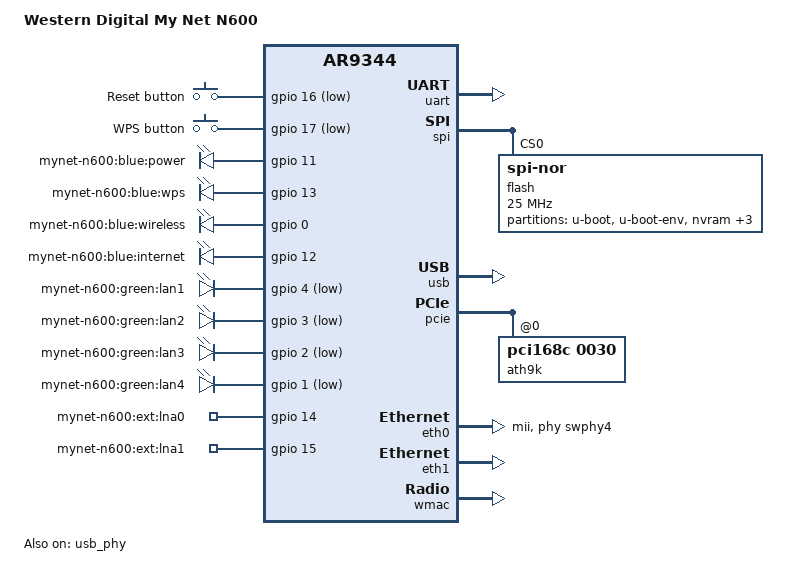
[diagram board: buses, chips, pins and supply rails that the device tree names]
// SPDX-License-Identifier: GPL-2.0-or-later OR MIT
/dts-v1/;

/* This is a DEMO file - it comes with no support, if there's anything wrong. Please fix it yourself. */

#include <dt-bindings/gpio/gpio.h>
#include <dt-bindings/input/input.h>

#include "ar9344.dtsi"

/ {
	model = "Western Digital My Net N600";
	compatible = "wd,mynet-n600", "qca,ar9344";

	aliases {
		serial0 = &uart;
		led-boot = &power;
		led-failsafe = &power;
		led-running = &power;
		led-upgrade = &power;
	};

	keys {
		compatible = "gpio-keys-polled";
		poll-interval = <20>;

		reset {
			label = "Reset button";
			linux,code = <KEY_RESTART>;
			gpios = <&gpio 16 GPIO_ACTIVE_LOW>;
			debounce-interval = <60>;
		};

		wps {
			label = "WPS button";
			linux,code = <KEY_WPS_BUTTON>;
			gpios = <&gpio 17 GPIO_ACTIVE_LOW>;
			debounce-interval = <60>;
		};
	};

	leds {
		compatible = "gpio-leds";

		power: power {
			label = "mynet-n600:blue:power";
			gpios = <&gpio 11 GPIO_ACTIVE_HIGH>;
			default-state = "on";
		};

		wps {
			label = "mynet-n600:blue:wps";
			gpios = <&gpio 13 GPIO_ACTIVE_HIGH>;
		};

		wireless {
			label = "mynet-n600:blue:wireless";
			gpios = <&gpio 0 GPIO_ACTIVE_HIGH>;
		};

		internet {
			label = "mynet-n600:blue:internet";
			gpios = <&gpio 12 GPIO_ACTIVE_HIGH>;
		};

		lan1 {
			label = "mynet-n600:green:lan1";
			gpios = <&gpio 4 GPIO_ACTIVE_LOW>;
		};

		lan2 {
			label = "mynet-n600:green:lan2";
			gpios = <&gpio 3 GPIO_ACTIVE_LOW>;
		};

		lan3 {
			label = "mynet-n600:green:lan3";
			gpios = <&gpio 2 GPIO_ACTIVE_LOW>;
		};

		lan4 {
			label = "mynet-n600:green:lan4";
			gpios = <&gpio 1 GPIO_ACTIVE_LOW>;
		};
	};

	gpio-export {
		compatible = "gpio-export";

		gpio_ext_lna0 {
			gpio-export,name = "mynet-n600:ext:lna0";
			gpio-export,output = <1>;
			gpios = <&gpio 14 GPIO_ACTIVE_HIGH>;
		};

		gpio_ext_lna1 {
			gpio-export,name = "mynet-n600:ext:lna1";
			gpio-export,output = <1>;
			gpios = <&gpio 15 GPIO_ACTIVE_HIGH>;
		};
	};
};

&ref {
	clock-frequency = <40000000>; /* or <25000000>; */
};

&uart {
	status = "okay";
};

&spi {
	num-cs = <1>;

	status = "okay";

	flash@0 {
		compatible = "jedec,spi-nor";
		reg = <0>;
		spi-max-frequency = <25000000>;

		/* spi0.0:256k(u-boot)ro,64k(u-boot-env)ro,64k(devdata)ro,64k(devconf)ro,15872k(firmware),64k(radiocfg)ro */

		partitions {
			compatible = "fixed-partitions";
			#address-cells = <1>;
			#size-cells = <1>;

			uboot: partition@0 {
				label = "u-boot";
				reg = <0x000000 0x040000>;
				read-only;
			};

			partition@40000 {
				label = "u-boot-env";
				reg = <0x040000 0x010000>;
				read-only;
			};

			nvram: partition@50000 {
				label = "nvram";
				reg = <0x050000 0x010000>;
				read-only;
			};

			partition@60000 {
				label = "devconf";
				reg = <0x060000 0x010000>;
				read-only;
			};

			partition@70000 {
				label = "firmware";
				reg = <0x070000 0x0f80000>;
			};

			art: partition@ff0000 {
				label = "art";
				reg = <0xff0000 0x010000>;
				read-only;
			};
		};
	};
};

&usb {
	status = "okay";
};

&usb_phy {
	status = "okay";
};

&pcie {
	status = "okay";

	ath9k: wifi@0,0 {
		compatible = "pci168c,0030";
		reg = <0x0000 0 0 0 0>;
		qca,no-eeprom;
	};
};

&eth0 {
	status = "okay";

	phy-mode = "mii";

	/* GMAC0 is connected to the PHY4 of the internal switch */
	phy-handle = <&swphy4>;

	gmac-config {
		device = <&gmac>;
		switch-only-mode = <1>;
		switch-phy-swap = <1>;
	};
};

&eth1 {
	status = "okay";
};

&wmac {
	status = "okay";
	qca,no-eeprom;
};
